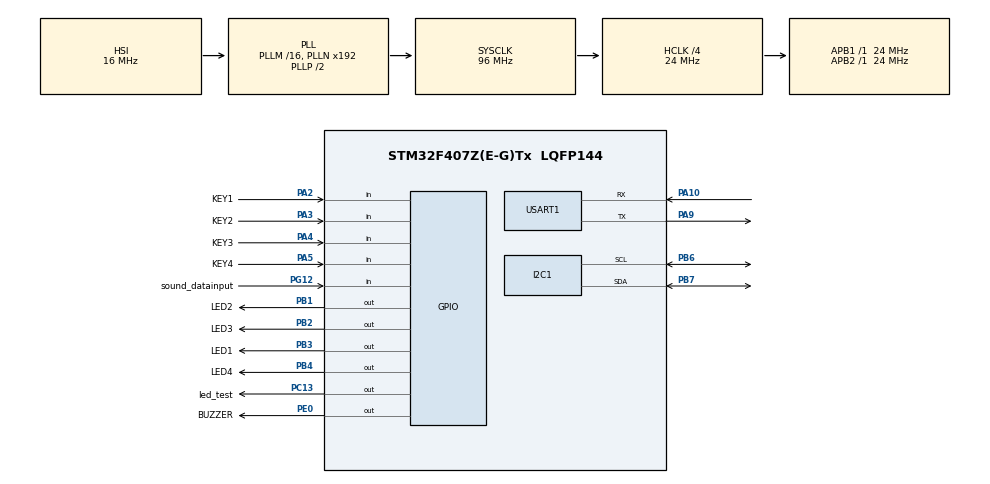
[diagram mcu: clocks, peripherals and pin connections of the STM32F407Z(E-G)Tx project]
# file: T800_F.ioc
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Mcu.Family=STM32F4
Mcu.Name=STM32F407Z(E-G)Tx
Mcu.Package=LQFP144
NVIC.PriorityGroup=NVIC_PRIORITYGROUP_4
PA10.Mode=Asynchronous
PA10.Signal=USART1_RX
PA13.Mode=Serial_Wire
PA13.Signal=SYS_JTMS-SWDIO
PA14.Mode=Serial_Wire
PA14.Signal=SYS_JTCK-SWCLK
PA2.GPIO_Label=KEY1
PA2.Signal=GPIO_Input
PA3.GPIO_Label=KEY2
PA3.Signal=GPIO_Input
PA4.GPIO_Label=KEY3
PA4.Signal=GPIO_Input
PA5.GPIO_Label=KEY4
PA5.Signal=GPIO_Input
PA9.Mode=Asynchronous
PA9.Signal=USART1_TX
PB1.GPIO_Label=LED2
PB1.Signal=GPIO_Output
PB2.GPIO_Label=LED3
PB2.Signal=GPIO_Output
PB3.GPIO_Label=LED1
PB3.Signal=GPIO_Output
PB4.GPIO_Label=LED4
PB4.Signal=GPIO_Output
PB6.Mode=I2C
PB6.Signal=I2C1_SCL
PB7.Mode=I2C
PB7.Signal=I2C1_SDA
PC13-ANTI_TAMP.GPIO_Label=led_test
PC13-ANTI_TAMP.Signal=GPIO_Output
PE0.GPIO_Label=BUZZER
PE0.Signal=GPIO_Output
PG12.GPIO_Label=sound_datainput
PG12.Signal=GPIO_Input
PH0-OSC_IN.Mode=HSE-External-Clock-Source
PH0-OSC_IN.Signal=RCC_OSC_IN
PH1-OSC_OUT.Mode=HSE-External-Clock-Source
PH1-OSC_OUT.Signal=RCC_OSC_OUT
ProjectManager.HeapSize=0x200
ProjectManager.StackSize=0x400
ProjectManager.TargetToolchain=MDK-ARM V5.32
RCC.AHBCLKDivider=RCC_SYSCLK_DIV4
RCC.AHBFreq_Value=24000000
RCC.APB1Freq_Value=24000000
RCC.APB1TimFreq_Value=24000000
RCC.APB2Freq_Value=24000000
RCC.APB2TimFreq_Value=24000000
RCC.CortexFreq_Value=24000000
RCC.HCLKFreq_Value=24000000
RCC.HSE_VALUE=25000000
RCC.HSI_VALUE=16000000
RCC.LSE_VALUE=32768
RCC.SYSCLKFreq_VALUE=96000000
RCC.SYSCLKSource=RCC_SYSCLKSOURCE_PLLCLK
RCC.VCOOutputFreq_Value=192000000
USART1.VirtualMode=VM_ASYNC
board=custom

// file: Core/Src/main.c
/* USER CODE BEGIN Header */
/**
  ******************************************************************************
  * @file           : main.c
  * @brief          : Main program body
  ******************************************************************************
  * @attention
  *
  * Copyright (c) 2025 STMicroelectronics.
  * All rights reserved.
  *
  * This software is licensed under terms that can be found in the LICENSE file
  * in the root directory of this software component.
  * If no LICENSE file comes with this software, it is provided AS-IS.
  *
  ******************************************************************************
  */
/* USER CODE END Header */
#include "main.h"
#include "i2c.h"
#include "usart.h"
#include "gpio.h"
#include "OLED.h"
#include "KEY.h"
#include <stdio.h>
#include <string.h>
#include <stdarg.h>

/* USER CODE BEGIN PV */
uint8_t page =1 ;
uint8_t num = 0;
uint8_t last_num = 0;
uint8_t auto_count_enabled = 0;
uint8_t last_auto_enabled = 0;
uint8_t auto_num = 0;
uint8_t last_auto_num = 0;
uint8_t auto_seconds = 0;
uint8_t last_auto_seconds = 0;
uint8_t auto_count_start_time = 0;
uint8_t display_initialized[3] = {0};
uint8_t current_system_time;
/* USER CODE END PV */

void SystemClock_Config(void);

/* USER CODE BEGIN 0 */
void BUZZER_SHAKE(void){
	if(HAL_GPIO_ReadPin(GPIOG,BUZZER_Pin)==SET){
		HAL_Delay(100);
	HAL_GPIO_TogglePin(GPIOE,BUZZER_Pin);
	}else HAL_GPIO_TogglePin(GPIOE,BUZZER_Pin);
}
/* USER CODE END 0 */

int main(void)
{

  /* MCU Configuration--------------------------------------------------------*/

  /* Reset of all peripherals, Initializes the Flash interface and the Systick. */
  HAL_Init();

  /* Configure the system clock */
  SystemClock_Config();

  /* Initialize all configured peripherals */
  MX_GPIO_Init();
  MX_I2C1_Init();
  MX_USART1_UART_Init();
  /* USER CODE BEGIN 2 */
	OLED_Init();
	OLED_Clear();
	OLED_ShowString(1,1,"System Ready");
	HAL_Delay(1000);

	//system start CLK
	uint32_t system_start_time = HAL_GetTick();
  /* USER CODE END 2 */

  /* Infinite loop */
  while (1)
  {
		//蜂鸣器
		BUZZER_SHAKE();
	    // 按键检测
    KEY_scan();
		if(page==1){
		HAL_GPIO_WritePin(GPIOB,LED1_Pin,GPIO_PIN_SET);
		}else HAL_GPIO_WritePin(GPIOB,LED1_Pin,GPIO_PIN_RESET);

		if(page==2){
		HAL_GPIO_WritePin(GPIOB,LED2_Pin,GPIO_PIN_SET);
		}else HAL_GPIO_WritePin(GPIOB,LED2_Pin,GPIO_PIN_RESET);

    if(page==3){
		HAL_GPIO_TogglePin(GPIOB,LED4_Pin);
			HAL_Delay(250);

		}else HAL_GPIO_WritePin(GPIOB,LED4_Pin,GPIO_PIN_RESET);

    // 自动计数处理
    if(auto_count_enabled && page == 2) {
        static uint32_t last_count_time = 0;
        uint32_t current_time = HAL_GetTick();

        if(current_time - last_count_time >= 1000) {
            auto_num++;
            auto_seconds = (current_time - auto_count_start_time) / 1000;
            last_count_time = current_time;
        }
    }
		char buffer[30];
		snprintf(buffer, sizeof(buffer), "last_count_time: %u ms\r\n", current_system_time);
		HAL_UART_Transmit(&huart1, (uint8_t*)buffer, strlen(buffer), HAL_MAX_DELAY);

        // OLED显示刷新（约200ms一次）
          OLED_Display();
        // 系统延时，控制循环频率
        HAL_Delay(10);
  }
}

void SystemClock_Config(void)
{
  RCC_OscInitTypeDef RCC_OscInitStruct = {0};
  RCC_ClkInitTypeDef RCC_ClkInitStruct = {0};

  /** Configure the main internal regulator output voltage
  */
  __HAL_RCC_PWR_CLK_ENABLE();
  __HAL_PWR_VOLTAGESCALING_CONFIG(PWR_REGULATOR_VOLTAGE_SCALE1);

  /** Initializes the RCC Oscillators according to the specified parameters
  * in the RCC_OscInitTypeDef structure.
  */
  RCC_OscInitStruct.OscillatorType = RCC_OSCILLATORTYPE_HSI;
  RCC_OscInitStruct.HSIState = RCC_HSI_ON;
  RCC_OscInitStruct.HSICalibrationValue = RCC_HSICALIBRATION_DEFAULT;
  RCC_OscInitStruct.PLL.PLLState = RCC_PLL_ON;
  RCC_OscInitStruct.PLL.PLLSource = RCC_PLLSOURCE_HSI;
  RCC_OscInitStruct.PLL.PLLM = 16;
  RCC_OscInitStruct.PLL.PLLN = 192;
  RCC_OscInitStruct.PLL.PLLP = RCC_PLLP_DIV2;
  RCC_OscInitStruct.PLL.PLLQ = 4;
  if (HAL_RCC_OscConfig(&RCC_OscInitStruct) != HAL_OK)
  {
    Error_Handler();
  }

  /** Initializes the CPU, AHB and APB buses clocks
  */
  RCC_ClkInitStruct.ClockType = RCC_CLOCKTYPE_HCLK|RCC_CLOCKTYPE_SYSCLK
                              |RCC_CLOCKTYPE_PCLK1|RCC_CLOCKTYPE_PCLK2;
  RCC_ClkInitStruct.SYSCLKSource = RCC_SYSCLKSOURCE_PLLCLK;
  RCC_ClkInitStruct.AHBCLKDivider = RCC_SYSCLK_DIV4;
  RCC_ClkInitStruct.APB1CLKDivider = RCC_HCLK_DIV1;
  RCC_ClkInitStruct.APB2CLKDivider = RCC_HCLK_DIV1;

  if (HAL_RCC_ClockConfig(&RCC_ClkInitStruct, FLASH_LATENCY_0) != HAL_OK)
  {
    Error_Handler();
  }
}

void Error_Handler(void)
{
  __disable_irq();
  while (1)
  {
  }
}
